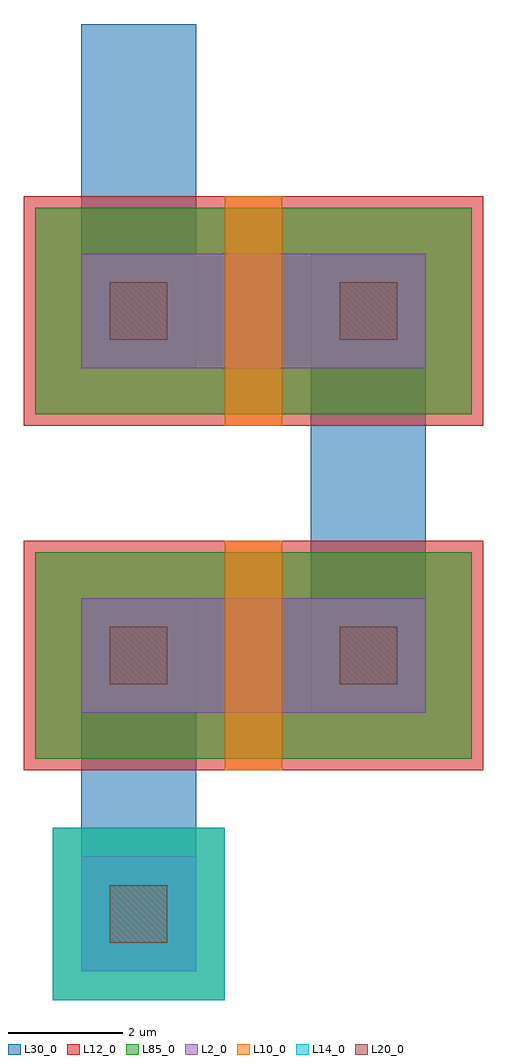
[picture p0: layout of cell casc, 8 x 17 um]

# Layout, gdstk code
from math import pi, radians
import gdstk
lib = gdstk.Library(unit=1e-6, precision=5e-10)
def R(c, l, rs):  # rectangles x0, y0, x1, y1
    for r in rs: c.add(gdstk.rectangle(r[:2], r[2:], *l))
L2_0 = (2, 0)
L10_0 = (10, 0)
L12_0 = (12, 0)
L14_0 = (14, 0)
L20_0 = (20, 0)
L30_0 = (30, 0)
L85_0 = (85, 0)

nmos4 = lib.new_cell('nmos4')
R(nmos4, L2_0, [(1,1,7,3)])
R(nmos4, L10_0, [(3.5,0,4.5,4), (3.6,3.4,4.4,3.9)])
R(nmos4, L12_0, [(0,0,8,4)])
R(nmos4, L20_0, [(1.5,1.5,2.5,2.5), (5.5,1.5,6.5,2.5)])
R(nmos4, L30_0, [(1,1,3,3), (5,1,7,3), (1.3,1.3,2.7,2.7), (5.3,1.3,6.7,2.7)])
R(nmos4, L85_0, [(0.2,0.2,7.8,3.8)])

m1_psub_cdns_60928659933 = lib.new_cell('M1_PSUB_CDNS_609286599330')
R(m1_psub_cdns_60928659933, L2_0, [(-1,-1,1,1)])
R(m1_psub_cdns_60928659933, L14_0, [(-1.5,-1.5,1.5,1.5)])
R(m1_psub_cdns_60928659933, L20_0, [(-0.5,-0.5,0.5,0.5)])
R(m1_psub_cdns_60928659933, L30_0, [(-1,-1,1,1)])
R(m1_psub_cdns_60928659933, L85_0, [(-1.5,-1.5,1.5,1.5)])

casc = lib.new_cell('casc')
R(casc, L10_0, [(8.5,6.2,9.5,8), (8.5,6.2,9.5,7.2), (8.5,10,9.5,12), (8.5,10.9,9.5,11.9)])
R(casc, L30_0, [(6,0.5,8,2.5), (6,0.9,8,7), (6,11,8,17), (6,15,8,17)])
casc.add(gdstk.FlexPath([(11,6.7),(11,11.3)], 2, ends="flush", simple_path=True, layer=30, datatype=0))  # L30_0
casc.add(gdstk.Reference(nmos4, (13,14), rotation=pi))
casc.add(gdstk.Reference(nmos4, (5,4)))
casc.add(gdstk.Reference(m1_psub_cdns_60928659933, (7,1.5)))

lib.write_gds('casc.gds')
